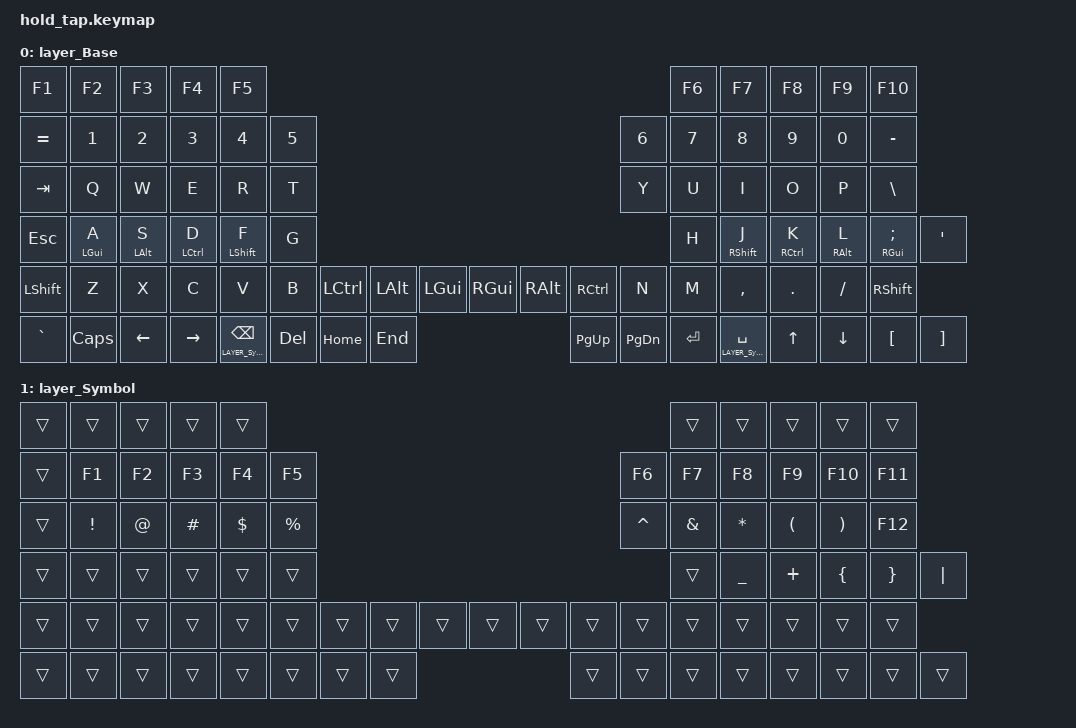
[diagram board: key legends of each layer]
/*
 * Glove80 keymap with hold-tap behaviors for testing
 */

#include <behaviors.dtsi>
#include <dt-bindings/zmk/keys.h>

#define LAYER_Base 0
#define LAYER_Symbol 1

/ {
    behaviors {
        hm: homerow_mods {
            compatible = "zmk,behavior-hold-tap";
            #binding-cells = <2>;
            tapping-term-ms = <200>;
            quick-tap-ms = <0>;
            flavor = "tap-preferred";
            bindings = <&kp>, <&kp>;
        };

        lt: layer_tap {
            compatible = "zmk,behavior-hold-tap";
            #binding-cells = <2>;
            tapping-term-ms = <200>;
            quick-tap-ms = <0>;
            flavor = "tap-preferred";
            bindings = <&mo>, <&kp>;
        };
    };

    keymap {
        compatible = "zmk,keymap";

        layer_Base {
            bindings = <
                &kp F1    &kp F2    &kp F3    &kp F4    &kp F5                                                                                      &kp F6    &kp F7    &kp F8    &kp F9    &kp F10
                &kp EQUAL &kp N1    &kp N2    &kp N3    &kp N4    &kp N5                                                                  &kp N6    &kp N7    &kp N8    &kp N9    &kp N0    &kp MINUS
                &kp TAB   &kp Q     &kp W     &kp E     &kp R     &kp T                                                                   &kp Y     &kp U     &kp I     &kp O     &kp P     &kp BSLH
                &kp ESC   &hm LGUI A &hm LALT S &hm LCTRL D &hm LSHFT F &kp G                                                             &kp H     &hm RSHFT J &hm RCTRL K &hm RALT L &hm RGUI SEMI &kp SQT
                &kp LSHFT &kp Z     &kp X     &kp C     &kp V     &kp B     &kp LCTRL &kp LALT  &kp LGUI  &kp RGUI  &kp RALT  &kp RCTRL   &kp N     &kp M     &kp COMMA &kp DOT   &kp FSLH  &kp RSHFT
                &kp GRAVE &kp CAPS  &kp LEFT  &kp RIGHT &lt LAYER_Symbol BSPC   &kp DEL   &kp HOME  &kp END   &kp PG_UP &kp PG_DN &kp ENTER      &lt LAYER_Symbol SPACE &kp UP &kp DOWN &kp LBKT &kp RBKT
            >;
        };

        layer_Symbol {
            bindings = <
                &trans    &trans    &trans    &trans    &trans                                                                                      &trans    &trans    &trans    &trans    &trans
                &trans    &kp F1    &kp F2    &kp F3    &kp F4    &kp F5                                                                  &kp F6    &kp F7    &kp F8    &kp F9    &kp F10   &kp F11
                &trans    &kp EXCL  &kp AT    &kp HASH  &kp DLLR  &kp PRCNT                                                               &kp CARET &kp AMPS  &kp ASTRK &kp LPAR  &kp RPAR  &kp F12
                &trans    &trans    &trans    &trans    &trans    &trans                                                                  &trans    &kp UNDER &kp PLUS  &kp LBRC  &kp RBRC  &kp PIPE
                &trans    &trans    &trans    &trans    &trans    &trans    &trans    &trans    &trans    &trans    &trans    &trans      &trans    &trans    &trans    &trans    &trans    &trans
                &trans    &trans    &trans    &trans    &trans              &trans    &trans    &trans    &trans    &trans    &trans                &trans    &trans    &trans    &trans    &trans
            >;
        };
    };
};
